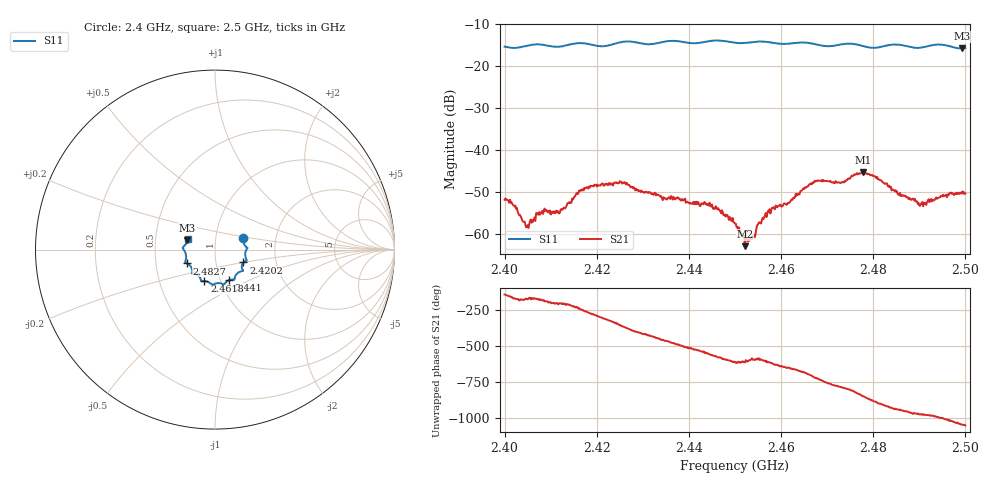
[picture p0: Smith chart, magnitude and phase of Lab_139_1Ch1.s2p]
# Hz S RI R 50
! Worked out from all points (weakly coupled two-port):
!   601 points, 2.4 GHz to 2.5 GHz, reference 50 ohm
!   highest |S21| = -45.26 dB at 2.4778 GHz (marker M1); lowest = -62.8 dB at 2.4522 GHz (marker M2)
!   lowest |S11| = -15.8 dB at 2.4993 GHz (marker M3), VSWR 1.39, Z = 36.5 + j3.84 ohm
!   |S11| at or under -10 dB: start of sweep to end of sweep
!   S12 and S22 are empty: the file has one direction only
!   S11 on the Smith chart (normalised r, x): 2.4 GHz: 1.36, +0.18; 2.4202 GHz: 1.36, -0.20; 2.441 GHz: 1.10, -0.39; 2.4618 GHz: 0.84, -0.30; 2.4827 GHz: 0.72, -0.12; 2.5 GHz: 0.73, +0.09
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2.4e9  0.1583 0.0629  -0.00208 -0.00152  0 0  0 0
2.405e9  0.1749 0.0137  -0.00129 -6.69e-05  0 0  0 0
2.4085e9  0.1783 0.00477  -0.0019 6.6e-05  0 0  0 0
2.412167e9  0.1681 -0.03  -0.00177 0.00086  0 0  0 0
2.416667e9  0.1774 -0.0607  -0.00127 0.00315  0 0  0 0
2.420167e9  0.1584 -0.0713  0.00161 0.00356  0 0  0 0
2.4255e9  0.1555 -0.1157  0.004 -0.000247  0 0  0 0
2.433333e9  0.1116 -0.151  9.51e-06 -0.00295  0 0  0 0
2.441e9  0.0786 -0.1696  -0.00236 -0.000625  0 0  0 0
2.444667e9  0.0532 -0.1916  -0.00202 0.000779  0 0  0 0
2.45e9  0.0285 -0.1872  -0.000323 0.00131  0 0  0 0
2.452167e9  0.0063 -0.1882  -0.000185 0.000701  0 0  0 0
2.453833e9  -0.00666 -0.1929  -0.000483 0.000753  0 0  0 0
2.457667e9  -0.0228 -0.19  -0.000374 0.00173  0 0  0 0
2.461833e9  -0.0593 -0.1754  0.001 0.00216  0 0  0 0
2.466667e9  -0.0785 -0.1684  0.00385 0.000823  0 0  0 0
2.477833e9  -0.1269 -0.1171  -0.00354 -0.00415  0 0  0 0
2.482667e9  -0.1561 -0.0772  -0.00386 0.00111  0 0  0 0
2.483333e9  -0.1605 -0.0753  -0.0034 0.00144  0 0  0 0
2.490333e9  -0.1645 -0.0194  -0.000543 0.00225  0 0  0 0
2.499333e9  -0.1536 0.0512  0.00275 0.00171  0 0  0 0
2.5e9  -0.1518 0.061  0.00274 0.00136  0 0  0 0
